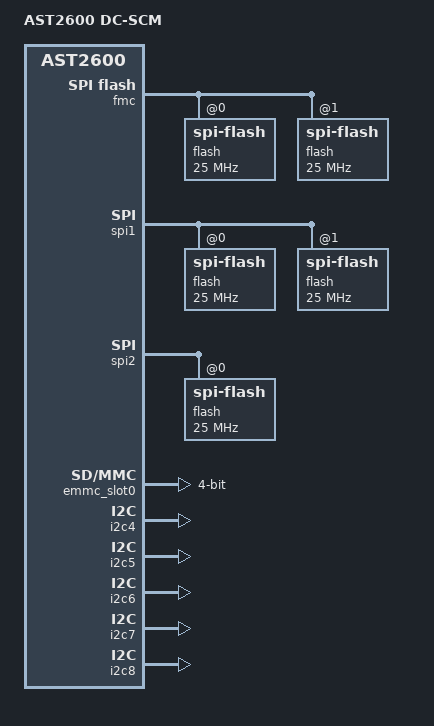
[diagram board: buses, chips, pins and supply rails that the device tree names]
// SPDX-License-Identifier: GPL-2.0-or-later
/dts-v1/;

#include "ast2600-evb.dts"

/ {
	model = "AST2600 DC-SCM";
};

&fmc {
	status = "okay";

	pinctrl-names = "default";
	pinctrl-0 = <&pinctrl_fmcquad_default>;
	timing-calibration-disabled;

	flash@0 {
		compatible = "spi-flash", "sst,w25q256";
		status = "okay";
		spi-max-frequency = <25000000>;
		spi-tx-bus-width = <1>;
		spi-rx-bus-width = <1>;
	};

	flash@1 {
		compatible = "spi-flash", "sst,w25q256";
		status = "okay";
		spi-max-frequency = <25000000>;
		spi-tx-bus-width = <1>;
		spi-rx-bus-width = <1>;
	};

	flash@2 {
		compatible = "spi-flash", "sst,w25q256";
		status = "disabled";
		spi-max-frequency = <25000000>;
		spi-tx-bus-width = <1>;
		spi-rx-bus-width = <1>;
	};
};

&spi1 {
	status = "okay";

	pinctrl-names = "default";
	pinctrl-0 = <&pinctrl_spi1_default &pinctrl_spi1abr_default
			&pinctrl_spi1cs1_default &pinctrl_spi1wp_default
			&pinctrl_spi1wp_default &pinctrl_spi1quad_default>;
	timing-calibration-disabled;

	flash@0 {
		compatible = "spi-flash", "sst,w25q256";
		status = "okay";
		spi-max-frequency = <25000000>;
		spi-tx-bus-width = <1>;
		spi-rx-bus-width = <1>;
	};

	flash@1 {
		compatible = "spi-flash", "sst,w25q256";
		status = "okay";
		spi-max-frequency = <25000000>;
		spi-tx-bus-width = <1>;
		spi-rx-bus-width = <1>;
	};
};

&spi2 {
	status = "okay";

	pinctrl-names = "default";
	pinctrl-0 = <&pinctrl_spi2_default &pinctrl_spi2cs1_default
			&pinctrl_spi2cs2_default &pinctrl_spi2quad_default>;
	timing-calibration-disabled;

	flash@0 {
		compatible = "spi-flash", "sst,w25q256";
		status = "okay";
		spi-max-frequency = <25000000>;
		spi-tx-bus-width = <1>;
		spi-rx-bus-width = <1>;
	};

	flash@1 {
		compatible = "spi-flash", "sst,w25q256";
		status = "disabled";
		spi-max-frequency = <25000000>;
		spi-tx-bus-width = <1>;
		spi-rx-bus-width = <1>;
	};

	flash@2 {
		compatible = "spi-flash", "sst,w25q256";
		status = "disabled";
		spi-max-frequency = <25000000>;
		spi-tx-bus-width = <1>;
		spi-rx-bus-width = <1>;
	};
};

&emmc {
	u-boot,dm-pre-reloc;
	timing-phase = <0x000f0097>;
};

&emmc_slot0 {
	u-boot,dm-pre-reloc;
	status = "okay";
	bus-width = <4>;
	pinctrl-names = "default";
	pinctrl-0 = <&pinctrl_emmc_default>;
	sdhci-drive-type = <1>;
};

&sdhci {
	status = "disabled";
};

&sdhci_slot0 {
	status = "disabled";
};

&sdhci_slot1 {
	status = "disabled";
};

&i2c4 {
	status = "okay";

	pinctrl-names = "default";
	pinctrl-0 = <&pinctrl_i2c5_default>;
};

&i2c5 {
	status = "okay";

	pinctrl-names = "default";
	pinctrl-0 = <&pinctrl_i2c6_default>;
};

&i2c6 {
	status = "okay";

	pinctrl-names = "default";
	pinctrl-0 = <&pinctrl_i2c7_default>;
};

&i2c7 {
	status = "okay";

	pinctrl-names = "default";
	pinctrl-0 = <&pinctrl_i2c8_default>;
};

&i2c8 {
	status = "okay";

	pinctrl-names = "default";
	pinctrl-0 = <&pinctrl_i2c9_default>;
};

&ehci1 {
	status = "disabled";
};
